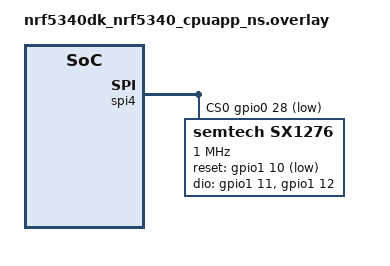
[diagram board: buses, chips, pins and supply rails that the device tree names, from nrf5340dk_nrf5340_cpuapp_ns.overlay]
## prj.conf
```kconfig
# Enable the UART driver
CONFIG_UART_ASYNC_API=y
CONFIG_NRFX_UARTE0=y

CONFIG_UART_INTERRUPT_DRIVEN=y
CONFIG_UART_LINE_CTRL=y

# Enable the console, logging and the printk function
CONFIG_LOG=y
CONFIG_PRINTK=y

CONFIG_SPI=y


CONFIG_LORA=y
CONFIG_LORA_LOG_LEVEL_DBG=y
CONFIG_LORA_SX12XX=y

CONFIG_LORAWAN=y
CONFIG_LORAWAN_LOG_LEVEL_DBG=y
CONFIG_LORAMAC_REGION_EU868=y

CONFIG_MAIN_STACK_SIZE=2048
CONFIG_SYSTEM_WORKQUEUE_STACK_SIZE=2048

CONFIG_LORAWAN_NVM_NONE=y
##CONFIG_LORAWAN_SYSTEM_MAX_RX_ERROR=90
CONFIG_LORAWAN_SYSTEM_MAX_RX_ERROR=200



CONFIG_LORA_SX127X=y
CONFIG_HAS_SEMTECH_LORAMAC=y
CONFIG_HAS_SEMTECH_RADIO_DRIVERS=y

##CONFIG_SHELL=y
CONFIG_LOG_MODE_DEFERRED=n
CONFIG_LOG_MODE_IMMEDIATE=y
CONFIG_DEBUG_THREAD_INFO=y
CONFIG_USE_SEGGER_RTT=y
CONFIG_RTT_CONSOLE=y
```

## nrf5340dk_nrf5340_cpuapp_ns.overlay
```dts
// To get started, press Ctrl+Space to bring up the completion menu and view the available nodes.

// You can also use the buttons in the sidebar to perform actions on nodes.
// Actions currently available include:

// * Enabling / disabling the node
// * Adding the bus to a bus
// * Removing the node
// * Connecting ADC channels

// For more help, browse the DeviceTree documentation at https://docs.zephyrproject.org/latest/guides/dts/index.html
// You can also visit the nRF DeviceTree extension documentation at https://nrfconnect.github.io/vscode-nrf-connect/devicetree/nrfdevicetree.html

/{
aliases{

    lora = &lora0;
};
};

&spi4 {
    cs-gpios = <&gpio0 28 GPIO_ACTIVE_LOW>;
    lora0: sx1276@0 {
		        compatible = "semtech,sx1276";
		        reset-gpios = <&gpio1 10 GPIO_ACTIVE_LOW>;
		        dio-gpios = 
                 <&gpio1 11 (GPIO_PULL_DOWN | GPIO_ACTIVE_HIGH)>, //DIO-0
                 <&gpio1 12 (GPIO_PULL_DOWN | GPIO_ACTIVE_HIGH)>; //DIO-1
                 //<&gpio1 7  (GPIO_PULL_DOWN | GPIO_ACTIVE_HIGH)>;  //DIO-2
		        power-amplifier-output = "pa-boost";
		        reg = <0>;
		        spi-max-frequency = <1000000>;
		        label = "sx1276";
          };

};

/*
reset            P1.10
DIO-0            P1.11
DIO-1            P1.12
DIO-2            P1.07
mosi laranja     P1.13
miso amarelo     P1.14
clk  verde       P1.15
nss  blue        P0.28

 SX1276 D0 
<&gpio0 26 (GPIO_PULL_DOWN | GPIO_ACTIVE_HIGH)>,
 SX1276 D1 
<&gpio0 35 (GPIO_PULL_DOWN | GPIO_ACTIVE_HIGH)>,
 SX1276 D2 
<&gpio0 34 (GPIO_PULL_DOWN | GPIO_ACTIVE_HIGH)>;

*/
```

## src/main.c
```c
/*
 * Class A LoRaWAN sample application
 *
 * Copyright (c) 2020 Manivannan Sadhasivam <mani@kernel.org>
 *
 * SPDX-License-Identifier: Apache-2.0
 */

#include <zephyr/device.h>
#include <zephyr/lorawan/lorawan.h>
#include <zephyr/kernel.h>
#include <zephyr/drivers/gpio.h>
#include <zephyr/drivers/lora.h>
#include <zephyr/random/rand32.h>

#define DEFAULT_RADIO_NODE DT_NODELABEL(lora0)
BUILD_ASSERT(DT_NODE_HAS_STATUS(DEFAULT_RADIO_NODE, okay), "No default LoRa radio specified in DT");
#define DEFAULT_RADIO DT_LABEL(DEFAULT_RADIO_NODE)

// LEDS
#define ON  1
#define OFF 0

#define LED0_NODE DT_ALIAS(led0)
static const struct gpio_dt_spec pin_test_led0 = GPIO_DT_SPEC_GET(LED0_NODE, gpios);

#define LED1_NODE DT_ALIAS(led1)
static const struct gpio_dt_spec pin_test_led1 = GPIO_DT_SPEC_GET(LED1_NODE, gpios);

#define LED2_NODE DT_ALIAS(led2)
static const struct gpio_dt_spec pin_test_led2 = GPIO_DT_SPEC_GET(LED2_NODE, gpios);

#define LED3_NODE DT_ALIAS(led3)
static const struct gpio_dt_spec pin_test_led3 = GPIO_DT_SPEC_GET(LED3_NODE, gpios);

#define LED1 &pin_test_led0
#define LED2 &pin_test_led1
#define LED3 &pin_test_led2
#define LED4 &pin_test_led3

#define CON_STATUS_LED LED1
#define RUN_STATUS_LED LED2

/* Customize based on network configuration */
#define LORAWAN_DEV_EUI			{0x70, 0xB3, 0xD5, 0x7E, 0xD8, 0x00, 0x13, 0x44} //LITTLE ENDIAN  msb
#define LORAWAN_JOIN_EUI        {0x60, 0x81, 0xF9, 0x62, 0x41, 0x65, 0x5D, 0x0B}
#define LORAWAN_APP_KEY	        {0x10, 0xF4, 0xCD, 0x51, 0x20, 0x52, 0x7A, 0x9E, 0x14, 0x75, 0x0A, 0xA4, 0x7F, 0x54, 0x46, 0x0B}

#define LORAWAN_DEV_EUI_HELIUM  {0x60, 0x81, 0xF9, 0x07, 0x40, 0x35, 0x0D, 0x69} //msb
#define LORAWAN_JOIN_EUI_HELIUM {0x60, 0x81, 0xF9, 0x82, 0xBD, 0x7F, 0x80, 0xD5} //msb
#define LORAWAN_APP_KEY_HELIUM  {0xE0, 0x07, 0x38, 0x87, 0xAF, 0x4F, 0x16, 0x6E, 0x8E, 0x52, 0xD3, 0x27, 0x0F, 0x2E, 0x64, 0x6F}

#define DELAY K_MSEC(10000)

#define MAX_DATA_LEN 10

#define LOG_LEVEL CONFIG_LOG_DEFAULT_LEVEL
#include <zephyr/logging/log.h>
LOG_MODULE_REGISTER(lorawan_node);

char data[] = {'h', 'e', 'l', 'l', 'o', 'w', 'o', 'r', 'l', 'd'};



char data_test[] =  { 0X00 , 0X01 ,
                      0X00 , 0X02 , 
					  0X00 , 0X00 , 0X00 , 0X01 ,
					  0X00 , 0X00 , 0X00 , 0X01 };

/*
  //Custom Script -- Integration Google Sheets
  //https://www.youtube.com/watch?v=M5VGos3YTpI&t=407s

function Decoder(bytes,port){

   var decoded={};
   decoded.temperature  = (bytes[0]*256 + bytes[1])
   decoded.humidity     = (bytes[2]*256 + bytes[3])
   decoded.pressure     = (bytes[4]*16777216 + bytes[5]*65536 + bytes[6]*256 + bytes[7])
   decoded.gas          = (bytes[8]*16777216 + bytes[9]*65536+ bytes[10]*256 + bytes[11])
 
 var decodedPayload = {
    "temperature": decoded.temperature,
    "humidity"   : decoded.humidity,
    "pressure"   : decoded.pressure,
    "gas"        : decoded.gas,

 };
  return Serialize(decodedPayload)
}

*/


static void dl_callback(uint8_t port, bool data_pending,
			int16_t rssi, int8_t snr,
			uint8_t len, const uint8_t *data)
{
	LOG_INF("Port %d, Pending %d, RSSI %ddB, SNR %ddBm", port, data_pending, rssi, snr);
	if (data) {
		LOG_HEXDUMP_INF(data, len, "Payload: ");
	}
}

static void lorwan_datarate_changed(enum lorawan_datarate dr)
{
	uint8_t unused, max_size;

	lorawan_get_payload_sizes(&unused, &max_size);
	LOG_INF("New Datarate: DR_%d, Max Payload %d", dr, max_size);
}


void configure_led(void)
{
	gpio_pin_configure_dt(LED1, GPIO_OUTPUT);
	gpio_pin_configure_dt(LED2, GPIO_OUTPUT);
	gpio_pin_configure_dt(LED3, GPIO_OUTPUT);
	gpio_pin_configure_dt(LED4, GPIO_OUTPUT);
}

void turn_off_all_leds(void)
{
	gpio_pin_set_dt(LED1, OFF);
	gpio_pin_set_dt(LED2, OFF);
	gpio_pin_set_dt(LED3, OFF);
	gpio_pin_set_dt(LED4, OFF);
}

void led_on_off(struct gpio_dt_spec led, uint8_t value)
{
	gpio_pin_set_dt(&led, value);
}

void lora_send_func(void)
{
	const struct device *const lora_dev = DEVICE_DT_GET(DT_NODELABEL(lora0));

	struct lora_modem_config config;
	int ret;

	if (!device_is_ready(lora_dev)) {
		LOG_ERR("%s Device not ready", lora_dev->name);
		return;
	}

	config.frequency = 865100000;
	config.bandwidth = BW_125_KHZ;
	config.datarate = SF_10;
	config.preamble_len = 8;
	config.coding_rate = CR_4_5;
	config.iq_inverted = false;
	config.public_network = false;
	config.tx_power = 4;
	config.tx = true;

	ret = lora_config(lora_dev, &config);
	if (ret < 0) {
		LOG_ERR("LoRa config failed");
		return;
	}

	while (1) {
		ret = lora_send(lora_dev, data, 10);
		if (ret < 0) {
			LOG_ERR("LoRa send failed");
			return;
		}

		LOG_INF("Data sent!");

		/* Send data at 1s interval */
		k_sleep(K_MSEC(1000));
	}
}



void main(void)
{
	const struct device *lora_dev;
	struct lorawan_join_config join_cfg;
	

	uint8_t dev_eui[] = LORAWAN_DEV_EUI_HELIUM;
	uint8_t join_eui[] = LORAWAN_JOIN_EUI_HELIUM;
	uint8_t app_key[] = LORAWAN_APP_KEY_HELIUM;

	//uint8_t dev_eui[] = LORAWAN_DEV_EUI;
	//uint8_t join_eui[] = LORAWAN_JOIN_EUI;
	//uint8_t app_key[] = LORAWAN_APP_KEY;

    uint64_t i=0,j=0;

    configure_led();
	turn_off_all_leds();
  
	int ret;

	struct lorawan_downlink_cb downlink_cb = {
		.port = LW_RECV_PORT_ANY,
		.cb = dl_callback
	};

	//lora_dev = DEVICE_DT_GET(DT_ALIAS(lora0)); // this command is not working
    lora_dev = DEVICE_DT_GET(DT_NODELABEL(lora0));



	if (!device_is_ready(lora_dev)) {
		LOG_ERR("%s: device not ready.", lora_dev->name);
		return;
	}

#if defined(CONFIG_LORAMAC_REGION_EU868)
	/* If more than one region Kconfig is selected, app should set region
	 * before calling lorawan_start()
	 */
	ret = lorawan_set_region(LORAWAN_REGION_EU868);
	if (ret < 0) {
		LOG_ERR("lorawan_set_region failed: %d", ret);
		return;
	}
#endif
  





ret = lorawan_start();
	if (ret < 0) {
		LOG_ERR("lorawan_start failed: %d", ret);
		return;
	}

    k_sleep(K_MSEC(500));//500ms

lorawan_enable_adr( true );

lorawan_register_downlink_callback(&downlink_cb);
	lorawan_register_dr_changed_callback(lorwan_datarate_changed);


    uint32_t random = sys_rand32_get();
    uint16_t dev_nonce = random & 0x0000FFFF;

	join_cfg.mode = LORAWAN_CLASS_A; //was A
	join_cfg.dev_eui = dev_eui;
	join_cfg.otaa.join_eui = join_eui;
	join_cfg.otaa.app_key = app_key;
	join_cfg.otaa.nwk_key = app_key;
    join_cfg.otaa.dev_nonce = dev_nonce;

	
    gpio_pin_set_dt(LED4, OFF);
    ret=-1;
    while(ret<0){
		gpio_pin_set_dt(LED3, OFF);
		gpio_pin_set_dt(LED3, ON);
		gpio_pin_set_dt(LED3, OFF);
		gpio_pin_set_dt(LED3, ON);
		gpio_pin_set_dt(LED3, OFF);

	 LOG_INF("Started");
	
 
   LOG_INF("Joining network over OTAA");
   

   do {
    	ret = lorawan_join(&join_cfg);
    	if (ret < 0) {
	    	printk("lorawan_join_network failed: %d\n\n", ret);
            printk("Sleeping for 10s to try again to join network.\n\n");
            k_sleep(K_MSEC(10000));

        if (ret == -116  || ret == -111  ){
           lorawan_start();
		   lorawan_enable_adr( true );
            lorawan_register_downlink_callback(&downlink_cb);
			lorawan_register_dr_changed_callback(lorwan_datarate_changed);
     		random = sys_rand32_get();
     		dev_nonce = random & 0x0000FFFF;
			join_cfg.mode = LORAWAN_CLASS_A; //was A
			join_cfg.dev_eui = dev_eui;
			join_cfg.otaa.join_eui = join_eui;
			join_cfg.otaa.app_key = app_key;
			join_cfg.otaa.nwk_key = app_key;
    		join_cfg.otaa.dev_nonce = dev_nonce;
		    k_sleep(K_MSEC(10000));
		}

	    }
    } while ( ret < 0 );


	    gpio_pin_set_dt(LED3, OFF);
		gpio_pin_set_dt(LED3, ON);
		gpio_pin_set_dt(LED3, OFF);
		gpio_pin_set_dt(LED3, ON);
		gpio_pin_set_dt(LED3, OFF);
		gpio_pin_set_dt(LED3, ON);
		gpio_pin_set_dt(LED3, OFF);
	

	  k_sleep(K_MSEC(100));//500ms

     }
    gpio_pin_set_dt(LED4, ON);
	LOG_INF("Sending data...");
	
	while (1) {
		gpio_pin_set_dt(LED4, ON);
		
		ret = lorawan_send(2, data_test, sizeof(data_test),LORAWAN_MSG_CONFIRMED);

		/*
		 * Note: The stack may return -EAGAIN if the provided data
		 * length exceeds the maximum possible one for the region and
		 * datarate. But since we are just sending the same data here,
		 * we'll just continue.
		 */
		if (ret == -EAGAIN) {
			LOG_ERR("lorawan_send failed: %d. Continuing...", ret);
			k_sleep(DELAY);
			continue;
		}

		if (ret < 0) {
			LOG_ERR("lorawan_send confirm failed: %d", ret);
			//return;
		}else{

		   LOG_INF("Data sent! %lld",i);
		   gpio_pin_set_dt(LED4, OFF);
		   i++;
		}
        /*
		This specific duty cycle requirement of <1 % translates to a maximum of 36 seconds of TX
        on-time within one hour and a maximum length of 3.6 seconds for any single transmission 
		   https://www.sensorsportal.com/HTML/DIGEST/december_2013/PDF_vol_161/P_1743.pdf

		 If you go beyond 1% the system will give you this message:
         LoRaWAN Send failed: Duty-cycle restricted

		*/
		j=0;
		while (j<10){
		  k_sleep(DELAY);
		  j++;
		}
		
	}
}
```
